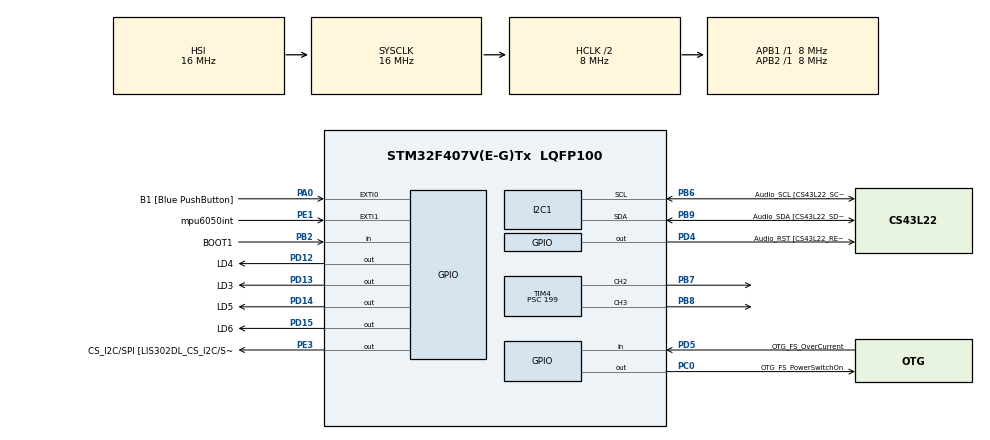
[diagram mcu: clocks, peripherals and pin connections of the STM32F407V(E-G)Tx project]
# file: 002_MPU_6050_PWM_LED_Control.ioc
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FREERTOS.Tasks01=SensorReadTask,24,128,sensor_read_task,Default,NULL,Dynamic,NULL,NULL;PWM_Control_Tas,40,128,pwm_control_task,Default,NULL,Dynamic,NULL,NULL
FREERTOS.configUSE_NEWLIB_REENTRANT=1
Mcu.Family=STM32F4
Mcu.Name=STM32F407V(E-G)Tx
Mcu.Package=LQFP100
NVIC.EXTI0_IRQn=true\:5\:0\:false\:false\:true\:true\:true\:true\:true
NVIC.PriorityGroup=NVIC_PRIORITYGROUP_4
NVIC.TIM4_IRQn=true\:5\:0\:false\:false\:true\:true\:true\:true\:true
NVIC.TIM6_DAC_IRQn=true\:15\:0\:false\:false\:true\:false\:false\:true\:true
NVIC.TimeBase=TIM6_DAC_IRQn
NVIC.TimeBaseIP=TIM6
PA0-WKUP.GPIO_Label=B1 [Blue PushButton]
PA0-WKUP.Signal=GPXTI0
PA10.GPIO_Label=OTG_FS_ID
PA10.GPIO_Mode=GPIO_MODE_AF_PP
PA10.GPIO_PuPd=GPIO_NOPULL
PA10.GPIO_Speed=GPIO_SPEED_FREQ_LOW
PA10.Signal=USB_OTG_FS_ID
PA11.GPIO_Label=OTG_FS_DM
PA11.GPIO_Mode=GPIO_MODE_AF_PP
PA11.GPIO_PuPd=GPIO_NOPULL
PA11.GPIO_Speed=GPIO_SPEED_FREQ_LOW
PA11.Signal=USB_OTG_FS_DM
PA12.GPIO_Label=OTG_FS_DP
PA12.GPIO_Mode=GPIO_MODE_AF_PP
PA12.GPIO_PuPd=GPIO_NOPULL
PA12.GPIO_Speed=GPIO_SPEED_FREQ_LOW
PA12.Signal=USB_OTG_FS_DP
PA13.GPIO_Label=SWDIO
PA13.Signal=SYS_JTMS-SWDIO
PA14.GPIO_Label=SWCLK
PA14.Signal=SYS_JTCK-SWCLK
PA4.GPIO_Label=I2S3_WS [CS43L22_LRCK]
PA4.GPIO_Mode=GPIO_MODE_AF_PP
PA4.GPIO_PuPd=GPIO_NOPULL
PA4.GPIO_Speed=GPIO_SPEED_FREQ_LOW
PA4.Signal=I2S3_WS
PA5.GPIO_Label=SPI1_SCK [LIS302DL_SCL/SPC]
PA5.GPIO_Mode=GPIO_MODE_AF_PP
PA5.GPIO_PuPd=GPIO_NOPULL
PA5.GPIO_Speed=GPIO_SPEED_FREQ_LOW
PA5.Signal=SPI1_SCK
PA6.GPIO_Label=SPI1_MISO [LIS302DL_SDO]
PA6.GPIO_Mode=GPIO_MODE_AF_PP
PA6.GPIO_PuPd=GPIO_NOPULL
PA6.GPIO_Speed=GPIO_SPEED_FREQ_LOW
PA6.Signal=SPI1_MISO
PA7.GPIO_Label=SPI1_MOSI [LIS302DL_SDA/SDI/SDO]
PA7.GPIO_Mode=GPIO_MODE_AF_PP
PA7.GPIO_PuPd=GPIO_NOPULL
PA7.GPIO_Speed=GPIO_SPEED_FREQ_LOW
PA7.Signal=SPI1_MOSI
PA9.GPIO_Label=VBUS_FS
PA9.GPIO_Mode=GPIO_MODE_INPUT
PA9.GPIO_PuPd=GPIO_NOPULL
PA9.Signal=USB_OTG_FS_VBUS
PB10.GPIO_Label=CLK_IN [MP45DT02_CLK]
PB10.GPIO_Mode=GPIO_MODE_AF_PP
PB10.GPIO_PuPd=GPIO_NOPULL
PB10.GPIO_Speed=GPIO_SPEED_FREQ_LOW
PB10.Signal=I2S2_CK
PB2.GPIO_Label=BOOT1
PB2.GPIO_Mode=GPIO_MODE_INPUT
PB2.GPIO_PuPd=GPIO_NOPULL
PB2.Signal=GPIO_Input
PB3.GPIO_Label=SWO
PB3.Signal=SYS_JTDO-SWO
PB6.GPIO_Label=Audio_SCL [CS43L22_SCL]
PB6.GPIO_Mode=GPIO_MODE_AF_OD
PB6.GPIO_PuPd=GPIO_NOPULL
PB6.GPIO_Speed=GPIO_SPEED_FREQ_LOW
PB6.Mode=I2C
PB6.Signal=I2C1_SCL
PB7.Signal=S_TIM4_CH2
PB8.Signal=S_TIM4_CH3
PB9.GPIO_Label=Audio_SDA [CS43L22_SDA]
PB9.GPIO_Mode=GPIO_MODE_AF_OD
PB9.GPIO_PuPd=GPIO_NOPULL
PB9.GPIO_Speed=GPIO_SPEED_FREQ_LOW
PB9.Mode=I2C
PB9.Signal=I2C1_SDA
PC0.GPIO_Label=OTG_FS_PowerSwitchOn
PC0.GPIO_PuPd=GPIO_NOPULL
PC0.GPIO_Speed=GPIO_SPEED_FREQ_LOW
PC0.PinState=GPIO_PIN_SET
PC0.Signal=GPIO_Output
PC10.GPIO_Label=I2S3_SCK [CS43L22_SCLK]
PC10.GPIO_Mode=GPIO_MODE_AF_PP
PC10.GPIO_PuPd=GPIO_NOPULL
PC10.GPIO_Speed=GPIO_SPEED_FREQ_LOW
PC10.Signal=I2S3_CK
PC12.GPIO_Label=I2S3_SD [CS43L22_SDIN]
PC12.GPIO_Mode=GPIO_MODE_AF_PP
PC12.GPIO_PuPd=GPIO_NOPULL
PC12.GPIO_Speed=GPIO_SPEED_FREQ_LOW
PC12.Signal=I2S3_SD
PC14-OSC32_IN.GPIO_Label=PC14-OSC32_IN
PC14-OSC32_IN.Signal=RCC_OSC32_IN
PC15-OSC32_OUT.GPIO_Label=PC15-OSC32_OUT
PC15-OSC32_OUT.Signal=RCC_OSC32_OUT
PC3.GPIO_Label=PDM_OUT [MP45DT02_DOUT]
PC3.GPIO_Mode=GPIO_MODE_AF_PP
PC3.GPIO_PuPd=GPIO_NOPULL
PC3.GPIO_Speed=GPIO_SPEED_FREQ_LOW
PC3.Signal=I2S2_SD
PC7.GPIO_Label=I2S3_MCK [CS43L22_MCLK]
PC7.GPIO_Mode=GPIO_MODE_AF_PP
PC7.GPIO_PuPd=GPIO_NOPULL
PC7.GPIO_Speed=GPIO_SPEED_FREQ_LOW
PC7.Signal=I2S3_MCK
PD12.GPIO_Label=LD4
PD12.Signal=GPIO_Output
PD13.GPIO_Label=LD3
PD13.Signal=GPIO_Output
PD14.GPIO_Label=LD5
PD14.Signal=GPIO_Output
PD15.GPIO_Label=LD6
PD15.Signal=GPIO_Output
PD4.GPIO_Label=Audio_RST [CS43L22_RESET]
PD4.GPIO_PuPd=GPIO_NOPULL
PD4.GPIO_Speed=GPIO_SPEED_FREQ_LOW
PD4.Signal=GPIO_Output
PD5.GPIO_Label=OTG_FS_OverCurrent
PD5.GPIO_Mode=GPIO_MODE_INPUT
PD5.GPIO_PuPd=GPIO_NOPULL
PD5.Signal=GPIO_Input
PE1.GPIO_Label=mpu6050int
PE1.GPIO_ModeDefaultEXTI=GPIO_MODE_EVT_RISING
PE1.GPIO_PuPd=GPIO_NOPULL
PE1.Signal=GPXTI1
PE3.GPIO_Label=CS_I2C/SPI [LIS302DL_CS_I2C/SPI]
PE3.GPIO_PuPd=GPIO_NOPULL
PE3.GPIO_Speed=GPIO_SPEED_FREQ_LOW
PE3.Signal=GPIO_Output
PH0-OSC_IN.GPIO_Label=PH0-OSC_IN
PH0-OSC_IN.Signal=RCC_OSC_IN
PH1-OSC_OUT.GPIO_Label=PH1-OSC_OUT
PH1-OSC_OUT.Signal=RCC_OSC_OUT
ProjectManager.HeapSize=0x200
ProjectManager.StackSize=0x400
ProjectManager.TargetToolchain=STM32CubeIDE
RCC.48MHZClocksFreq_Value=14285714.285714285
RCC.AHBCLKDivider=RCC_SYSCLK_DIV2
RCC.AHBFreq_Value=8000000
RCC.APB1Freq_Value=8000000
RCC.APB1TimFreq_Value=8000000
RCC.APB2Freq_Value=8000000
RCC.APB2TimFreq_Value=8000000
RCC.CortexFreq_Value=8000000
RCC.HCLKFreq_Value=8000000
RCC.HSE_VALUE=8000000
RCC.HSI_VALUE=16000000
RCC.LSE_VALUE=32768
RCC.PLLM=8
RCC.PLLN=50
RCC.PLLP=RCC_PLLP_DIV4
RCC.PLLQ=7
RCC.SYSCLKFreq_VALUE=16000000
RCC.VCOOutputFreq_Value=100000000
SH.S_TIM4_CH2.0=TIM4_CH2,PWM Generation2 CH2
SH.S_TIM4_CH3.0=TIM4_CH3,PWM Generation3 CH3
TIM4.Channel-PWM\ Generation2\ CH2=TIM_CHANNEL_2
TIM4.Channel-PWM\ Generation3\ CH3=TIM_CHANNEL_3
TIM4.Period=39
TIM4.Prescaler=199
TIM4.Pulse-PWM\ Generation2\ CH2=16
TIM4.TIM_MasterOutputTrigger=TIM_TRGO_UPDATE
VP_FREERTOS_VS_CMSIS_V2.Mode=CMSIS_V2
VP_SYS_VS_tim6.Mode=TIM6
VP_TIM4_VS_ClockSourceINT.Mode=Internal
board=STM32F407G-DISC1

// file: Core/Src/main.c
/* USER CODE BEGIN Header */
/**
  ******************************************************************************
  * @file           : main.c
  * @brief          : Main program body
  ******************************************************************************
  * @attention
  *
  * Copyright (c) 2025 STMicroelectronics.
  * All rights reserved.
  *
  * This software is licensed under terms that can be found in the LICENSE file
  * in the root directory of this software component.
  * If no LICENSE file comes with this software, it is provided AS-IS.
  *
  ******************************************************************************
  */
/* USER CODE END Header */
#include "main.h"
#include "cmsis_os.h"

/* USER CODE BEGIN Includes */
#include <math.h>
#include "kalman_filter.h"
#include "mpu6050.h"
#include <limits.h>
#include "debug.h"

/* USER CODE END Includes */

I2C_HandleTypeDef hi2c1;

TIM_HandleTypeDef htim4;

/* Definitions for SensorReadTask */
osThreadId_t SensorReadTaskHandle;
const osThreadAttr_t SensorReadTask_attributes = {
  .name = "SensorReadTask",
  .stack_size = 128 * 4,
  .priority = (osPriority_t) osPriorityNormal,
};
/* Definitions for PWM_Control_Tas */
osThreadId_t PWM_Control_TasHandle;
const osThreadAttr_t PWM_Control_Tas_attributes = {
  .name = "PWM_Control_Tas",
  .stack_size = 128 * 4,
  .priority = (osPriority_t) osPriorityHigh,
};

void SystemClock_Config(void);
static void MX_GPIO_Init(void);
static void MX_I2C1_Init(void);
static void MX_TIM4_Init(void);
void sensor_read_task(void *argument);
void pwm_control_task(void *argument);

/* USER CODE BEGIN 0 */

uint32_t g_counter = 0;
volatile uint32_t g_channel_2_state = 16;
volatile uint32_t g_channel_3_state = 8;

const mpu6050_accel_data_t error_offset={.x = 250,.y = -250,.z = 156};

#define PWM_PULSE_MIN 0
#define PWM_PULSE_MAX 40

#define ANGLE_POS_MIN 0
#define ANGLE_POS_MAX 90

long map(long x,long in_min,long in_max, long out_min,long out_max)
{
	//perform mapping

	long result = (x- in_min)*(out_max - out_min)/(in_max - in_min)+out_min;

	//clamp the result to the output range
	if(result > out_max)
	{
		result = out_max;
	}

	else if (result < out_min)
	{
		result = out_min;
	}

	return result;

}

void change_pwm_duty_cycle(uint32_t pwm_pulse,uint8_t timer_channel)
{
	__HAL_TIM_SET_COMPARE(&htim4,timer_channel,pwm_pulse);
}

// Function to get the current cycle count
uint32_t get_cycle_count(void) {
    return DWT->CYCCNT;
}

    void init_cycle_counter(void) {
            // Enable DWT (Data Watchpoint and Trace)
            CoreDebug->DEMCR |= CoreDebug_DEMCR_TRCENA_Msk;
            // Reset cycle counter
            DWT->CYCCNT = 0;
            // Enable cycle counter
            DWT->CTRL |= DWT_CTRL_CYCCNTENA_Msk;
        }

/* USER CODE END 0 */

int main(void)
{

  /* MCU Configuration--------------------------------------------------------*/

  /* Reset of all peripherals, Initializes the Flash interface and the Systick. */
  HAL_Init();

  /* Configure the system clock */
  SystemClock_Config();

  /* Initialize all configured peripherals */
  MX_GPIO_Init();
  MX_I2C1_Init();
  MX_TIM4_Init();
  /* USER CODE BEGIN 2 */

  init_cycle_counter();

  if(MPU6050_init(&hi2c1,MPU6050_I2C_addr)!= MPU6050_ok)
  {
	  Error_Handler();
  }

  mpu6050_disable_interrupt(&hi2c1,ALL_INT);
  mpu6050_interrupt_config(&hi2c1,INT_LEVEL_ACTIVE_HIGH);
  mpu6050_enable_interrupt(&hi2c1,RAW_RDY_INT);

  if(mpu6050_configure_low_pass_filter(&hi2c1,DLPF_CFG_21HZ)!= MPU6050_ok)
  {
	  Error_Handler();
  }

  __HAL_TIM_ENABLE_IT(&htim4,TIM_IT_UPDATE);

  if(HAL_TIM_PWM_Start_IT(&htim4,TIM_CHANNEL_2) != HAL_OK)
  {
	  Error_Handler();
  }

  if(HAL_TIM_PWM_Start_IT(&htim4,TIM_CHANNEL_3) != HAL_OK)
  {
	  Error_Handler();
  }

  /* USER CODE END 2 */

  /* Init scheduler */
  osKernelInitialize();

  /* Create the thread(s) */
  /* creation of SensorReadTask */
  SensorReadTaskHandle = osThreadNew(sensor_read_task, NULL, &SensorReadTask_attributes);

  /* creation of PWM_Control_Tas */
  PWM_Control_TasHandle = osThreadNew(pwm_control_task, NULL, &PWM_Control_Tas_attributes);

  /* Start scheduler */
  osKernelStart();

  /* We should never get here as control is now taken by the scheduler */

  /* Infinite loop */
  while (1)
  {

    /* USER CODE BEGIN 3 */

#ifdef PWM_DEBUG
	  g_counter = __HAL_TIM_GET_COUNTER(&htim4);
#endif

	  //HAL_Delay(500);
  }
  /* USER CODE END 3 */
}

void SystemClock_Config(void)
{
  RCC_OscInitTypeDef RCC_OscInitStruct = {0};
  RCC_ClkInitTypeDef RCC_ClkInitStruct = {0};

  /** Configure the main internal regulator output voltage
  */
  __HAL_RCC_PWR_CLK_ENABLE();
  __HAL_PWR_VOLTAGESCALING_CONFIG(PWR_REGULATOR_VOLTAGE_SCALE1);

  /** Initializes the RCC Oscillators according to the specified parameters
  * in the RCC_OscInitTypeDef structure.
  */
  RCC_OscInitStruct.OscillatorType = RCC_OSCILLATORTYPE_HSI;
  RCC_OscInitStruct.HSIState = RCC_HSI_ON;
  RCC_OscInitStruct.HSICalibrationValue = RCC_HSICALIBRATION_DEFAULT;
  RCC_OscInitStruct.PLL.PLLState = RCC_PLL_NONE;
  if (HAL_RCC_OscConfig(&RCC_OscInitStruct) != HAL_OK)
  {
    Error_Handler();
  }

  /** Initializes the CPU, AHB and APB buses clocks
  */
  RCC_ClkInitStruct.ClockType = RCC_CLOCKTYPE_HCLK|RCC_CLOCKTYPE_SYSCLK
                              |RCC_CLOCKTYPE_PCLK1|RCC_CLOCKTYPE_PCLK2;
  RCC_ClkInitStruct.SYSCLKSource = RCC_SYSCLKSOURCE_HSI;
  RCC_ClkInitStruct.AHBCLKDivider = RCC_SYSCLK_DIV2;
  RCC_ClkInitStruct.APB1CLKDivider = RCC_HCLK_DIV1;
  RCC_ClkInitStruct.APB2CLKDivider = RCC_HCLK_DIV1;

  if (HAL_RCC_ClockConfig(&RCC_ClkInitStruct, FLASH_LATENCY_0) != HAL_OK)
  {
    Error_Handler();
  }
}

static void MX_I2C1_Init(void)
{

  hi2c1.Instance = I2C1;
  hi2c1.Init.ClockSpeed = 100000;
  hi2c1.Init.DutyCycle = I2C_DUTYCYCLE_2;
  hi2c1.Init.OwnAddress1 = 0;
  hi2c1.Init.AddressingMode = I2C_ADDRESSINGMODE_7BIT;
  hi2c1.Init.DualAddressMode = I2C_DUALADDRESS_DISABLE;
  hi2c1.Init.OwnAddress2 = 0;
  hi2c1.Init.GeneralCallMode = I2C_GENERALCALL_DISABLE;
  hi2c1.Init.NoStretchMode = I2C_NOSTRETCH_DISABLE;
  if (HAL_I2C_Init(&hi2c1) != HAL_OK)
  {
    Error_Handler();
  }

}

static void MX_TIM4_Init(void)
{

  TIM_ClockConfigTypeDef sClockSourceConfig = {0};
  TIM_MasterConfigTypeDef sMasterConfig = {0};
  TIM_OC_InitTypeDef sConfigOC = {0};

  htim4.Instance = TIM4;
  htim4.Init.Prescaler = 199;
  htim4.Init.CounterMode = TIM_COUNTERMODE_UP;
  htim4.Init.Period = 39;
  htim4.Init.ClockDivision = TIM_CLOCKDIVISION_DIV1;
  htim4.Init.AutoReloadPreload = TIM_AUTORELOAD_PRELOAD_DISABLE;
  if (HAL_TIM_Base_Init(&htim4) != HAL_OK)
  {
    Error_Handler();
  }
  sClockSourceConfig.ClockSource = TIM_CLOCKSOURCE_INTERNAL;
  if (HAL_TIM_ConfigClockSource(&htim4, &sClockSourceConfig) != HAL_OK)
  {
    Error_Handler();
  }
  if (HAL_TIM_PWM_Init(&htim4) != HAL_OK)
  {
    Error_Handler();
  }
  sMasterConfig.MasterOutputTrigger = TIM_TRGO_UPDATE;
  sMasterConfig.MasterSlaveMode = TIM_MASTERSLAVEMODE_DISABLE;
  if (HAL_TIMEx_MasterConfigSynchronization(&htim4, &sMasterConfig) != HAL_OK)
  {
    Error_Handler();
  }
  sConfigOC.OCMode = TIM_OCMODE_PWM1;
  sConfigOC.Pulse = 16;
  sConfigOC.OCPolarity = TIM_OCPOLARITY_HIGH;
  sConfigOC.OCFastMode = TIM_OCFAST_DISABLE;
  if (HAL_TIM_PWM_ConfigChannel(&htim4, &sConfigOC, TIM_CHANNEL_2) != HAL_OK)
  {
    Error_Handler();
  }
  sConfigOC.Pulse = 0;
  if (HAL_TIM_PWM_ConfigChannel(&htim4, &sConfigOC, TIM_CHANNEL_3) != HAL_OK)
  {
    Error_Handler();
  }
  HAL_TIM_MspPostInit(&htim4);

}

static void MX_GPIO_Init(void)
{
  GPIO_InitTypeDef GPIO_InitStruct = {0};

  /* GPIO Ports Clock Enable */
  __HAL_RCC_GPIOE_CLK_ENABLE();
  __HAL_RCC_GPIOC_CLK_ENABLE();
  __HAL_RCC_GPIOH_CLK_ENABLE();
  __HAL_RCC_GPIOA_CLK_ENABLE();
  __HAL_RCC_GPIOB_CLK_ENABLE();
  __HAL_RCC_GPIOD_CLK_ENABLE();

  /*Configure GPIO pin Output Level */
  HAL_GPIO_WritePin(CS_I2C_SPI_GPIO_Port, CS_I2C_SPI_Pin, GPIO_PIN_RESET);

  /*Configure GPIO pin Output Level */
  HAL_GPIO_WritePin(OTG_FS_PowerSwitchOn_GPIO_Port, OTG_FS_PowerSwitchOn_Pin, GPIO_PIN_SET);

  /*Configure GPIO pin Output Level */
  HAL_GPIO_WritePin(GPIOD, LD4_Pin|LD3_Pin|LD5_Pin|LD6_Pin
                          |Audio_RST_Pin, GPIO_PIN_RESET);

  /*Configure GPIO pin : CS_I2C_SPI_Pin */
  GPIO_InitStruct.Pin = CS_I2C_SPI_Pin;
  GPIO_InitStruct.Mode = GPIO_MODE_OUTPUT_PP;
  GPIO_InitStruct.Pull = GPIO_NOPULL;
  GPIO_InitStruct.Speed = GPIO_SPEED_FREQ_LOW;
  HAL_GPIO_Init(CS_I2C_SPI_GPIO_Port, &GPIO_InitStruct);

  /*Configure GPIO pin : OTG_FS_PowerSwitchOn_Pin */
  GPIO_InitStruct.Pin = OTG_FS_PowerSwitchOn_Pin;
  GPIO_InitStruct.Mode = GPIO_MODE_OUTPUT_PP;
  GPIO_InitStruct.Pull = GPIO_NOPULL;
  GPIO_InitStruct.Speed = GPIO_SPEED_FREQ_LOW;
  HAL_GPIO_Init(OTG_FS_PowerSwitchOn_GPIO_Port, &GPIO_InitStruct);

  /*Configure GPIO pin : PDM_OUT_Pin */
  GPIO_InitStruct.Pin = PDM_OUT_Pin;
  GPIO_InitStruct.Mode = GPIO_MODE_AF_PP;
  GPIO_InitStruct.Pull = GPIO_NOPULL;
  GPIO_InitStruct.Speed = GPIO_SPEED_FREQ_LOW;
  GPIO_InitStruct.Alternate = GPIO_AF5_SPI2;
  HAL_GPIO_Init(PDM_OUT_GPIO_Port, &GPIO_InitStruct);

  /*Configure GPIO pin : B1_Pin */
  GPIO_InitStruct.Pin = B1_Pin;
  GPIO_InitStruct.Mode = GPIO_MODE_IT_RISING;
  GPIO_InitStruct.Pull = GPIO_NOPULL;
  HAL_GPIO_Init(B1_GPIO_Port, &GPIO_InitStruct);

  /*Configure GPIO pin : I2S3_WS_Pin */
  GPIO_InitStruct.Pin = I2S3_WS_Pin;
  GPIO_InitStruct.Mode = GPIO_MODE_AF_PP;
  GPIO_InitStruct.Pull = GPIO_NOPULL;
  GPIO_InitStruct.Speed = GPIO_SPEED_FREQ_LOW;
  GPIO_InitStruct.Alternate = GPIO_AF6_SPI3;
  HAL_GPIO_Init(I2S3_WS_GPIO_Port, &GPIO_InitStruct);

  /*Configure GPIO pins : SPI1_SCK_Pin SPI1_MISO_Pin SPI1_MOSI_Pin */
  GPIO_InitStruct.Pin = SPI1_SCK_Pin|SPI1_MISO_Pin|SPI1_MOSI_Pin;
  GPIO_InitStruct.Mode = GPIO_MODE_AF_PP;
  GPIO_InitStruct.Pull = GPIO_NOPULL;
  GPIO_InitStruct.Speed = GPIO_SPEED_FREQ_LOW;
  GPIO_InitStruct.Alternate = GPIO_AF5_SPI1;
  HAL_GPIO_Init(GPIOA, &GPIO_InitStruct);

  /*Configure GPIO pin : BOOT1_Pin */
  GPIO_InitStruct.Pin = BOOT1_Pin;
  GPIO_InitStruct.Mode = GPIO_MODE_INPUT;
  GPIO_InitStruct.Pull = GPIO_NOPULL;
  HAL_GPIO_Init(BOOT1_GPIO_Port, &GPIO_InitStruct);

  /*Configure GPIO pin : CLK_IN_Pin */
  GPIO_InitStruct.Pin = CLK_IN_Pin;
  GPIO_InitStruct.Mode = GPIO_MODE_AF_PP;
  GPIO_InitStruct.Pull = GPIO_NOPULL;
  GPIO_InitStruct.Speed = GPIO_SPEED_FREQ_LOW;
  GPIO_InitStruct.Alternate = GPIO_AF5_SPI2;
  HAL_GPIO_Init(CLK_IN_GPIO_Port, &GPIO_InitStruct);

  /*Configure GPIO pins : LD4_Pin LD3_Pin LD5_Pin LD6_Pin
                           Audio_RST_Pin */
  GPIO_InitStruct.Pin = LD4_Pin|LD3_Pin|LD5_Pin|LD6_Pin
                          |Audio_RST_Pin;
  GPIO_InitStruct.Mode = GPIO_MODE_OUTPUT_PP;
  GPIO_InitStruct.Pull = GPIO_NOPULL;
  GPIO_InitStruct.Speed = GPIO_SPEED_FREQ_LOW;
  HAL_GPIO_Init(GPIOD, &GPIO_InitStruct);

  /*Configure GPIO pins : I2S3_MCK_Pin I2S3_SCK_Pin I2S3_SD_Pin */
  GPIO_InitStruct.Pin = I2S3_MCK_Pin|I2S3_SCK_Pin|I2S3_SD_Pin;
  GPIO_InitStruct.Mode = GPIO_MODE_AF_PP;
  GPIO_InitStruct.Pull = GPIO_NOPULL;
  GPIO_InitStruct.Speed = GPIO_SPEED_FREQ_LOW;
  GPIO_InitStruct.Alternate = GPIO_AF6_SPI3;
  HAL_GPIO_Init(GPIOC, &GPIO_InitStruct);

  /*Configure GPIO pin : VBUS_FS_Pin */
  GPIO_InitStruct.Pin = VBUS_FS_Pin;
  GPIO_InitStruct.Mode = GPIO_MODE_INPUT;
  GPIO_InitStruct.Pull = GPIO_NOPULL;
  HAL_GPIO_Init(VBUS_FS_GPIO_Port, &GPIO_InitStruct);

  /*Configure GPIO pins : OTG_FS_ID_Pin OTG_FS_DM_Pin OTG_FS_DP_Pin */
  GPIO_InitStruct.Pin = OTG_FS_ID_Pin|OTG_FS_DM_Pin|OTG_FS_DP_Pin;
  GPIO_InitStruct.Mode = GPIO_MODE_AF_PP;
  GPIO_InitStruct.Pull = GPIO_NOPULL;
  GPIO_InitStruct.Speed = GPIO_SPEED_FREQ_LOW;
  GPIO_InitStruct.Alternate = GPIO_AF10_OTG_FS;
  HAL_GPIO_Init(GPIOA, &GPIO_InitStruct);

  /*Configure GPIO pin : OTG_FS_OverCurrent_Pin */
  GPIO_InitStruct.Pin = OTG_FS_OverCurrent_Pin;
  GPIO_InitStruct.Mode = GPIO_MODE_INPUT;
  GPIO_InitStruct.Pull = GPIO_NOPULL;
  HAL_GPIO_Init(OTG_FS_OverCurrent_GPIO_Port, &GPIO_InitStruct);

  /*Configure GPIO pin : mpu6050int_Pin */
  GPIO_InitStruct.Pin = mpu6050int_Pin;
  GPIO_InitStruct.Mode = GPIO_MODE_EVT_RISING;
  GPIO_InitStruct.Pull = GPIO_NOPULL;
  HAL_GPIO_Init(mpu6050int_GPIO_Port, &GPIO_InitStruct);

  /* EXTI interrupt init*/
  HAL_NVIC_SetPriority(EXTI0_IRQn, 5, 0);
  HAL_NVIC_EnableIRQ(EXTI0_IRQn);

}

void sensor_read_task(void *argument)
{
  /* USER CODE BEGIN 5 */

	mpu6050_accel_data_t g_accel_data;

	uint32_t acceldata_y_z = 0;

  /* Infinite loop */
  for(;;)
  {
	  //sensor read
	  if(MPU6050_read_accelerometer_data(&hi2c1,MPU6050_I2C_addr,&g_accel_data) != MPU6050_ok)
	  	  {
	  		  Error_Handler();
	  	  }

	  acceldata_y_z = g_accel_data.y;
	  acceldata_y_z = (acceldata_y_z << 16) | g_accel_data.z;

	  	  g_accel_data = mpu6050_accelerometer_calibration(&error_offset,&g_accel_data);

	  	  //send notification to the pwm control task
	  	  xTaskNotify((TaskHandle_t)PWM_Control_TasHandle,acceldata_y_z, eSetValueWithOverwrite);

	  	  //enter blocked state until a direct notification is received from the ISR
	  	  xTaskNotifyWait(0, 0, NULL, portMAX_DELAY);
  }

  /* USER CODE END 5 */
}

void pwm_control_task(void *argument)
{
  /* USER CODE BEGIN pwm_control_task */

	  uint32_t  previous_tick = osKernelGetTickCount();
	  float roll_angle;
	  int16_t roll_angle_filtered;
	  mpu6050_accel_data_t g_accel_data;
	  float dt = 0;
	  uint32_t accel_data_y_z;

	  KalmanFilter kf;
	   kalman_filter_init(&kf);

  /* Infinite loop */
  for(;;)
  {

	  //wakes upon notification
	  //enter blocked state until a direct notification is received from the Sensor read task
	  xTaskNotifyWait(0, ULONG_MAX, &accel_data_y_z, portMAX_DELAY);

	  g_accel_data.z = (int16_t)accel_data_y_z & 0xFFFF;

	  g_accel_data.y = (int16_t)(accel_data_y_z >>16) & 0xFFFF;

	  uint32_t current_tick = osKernelGetTickCount();

	  dt = (current_tick - previous_tick)/1000.0f;

	  previous_tick = current_tick;

	  roll_angle = atan2(g_accel_data.y ,g_accel_data.z)*(180.0/M_PI);
	  DEBUG_ROLL_ANGLE(roll_angle);
	  DEBUG_DT(dt * 1000);

	 roll_angle_filtered = kalman_filter_get_angle(&kf,roll_angle,dt);
	 DEBUG_ROLL_ANGLE_FILT(roll_angle_filtered);

	 uint8_t channel = (roll_angle_filtered < 0)? TIM_CHANNEL_2 : TIM_CHANNEL_3;

	  roll_angle_filtered = (roll_angle_filtered < 0)? roll_angle_filtered : roll_angle_filtered;

	  uint32_t pwm_pulse = map(roll_angle_filtered ,ANGLE_POS_MIN,ANGLE_POS_MAX,PWM_PULSE_MIN,PWM_PULSE_MAX);

	  change_pwm_duty_cycle(pwm_pulse,channel);

	  //enters blocked state
  }
  /* USER CODE END pwm_control_task */
}

void HAL_TIM_PeriodElapsedCallback(TIM_HandleTypeDef *htim)
{
  /* USER CODE BEGIN Callback 0 */

	  if (htim->Instance == TIM6) {
	    HAL_IncTick();
	  }

	  g_counter=0;
	  g_channel_2_state = 16;
	  g_channel_3_state = 8;

  /* USER CODE END Callback 0 */
  if (htim->Instance == TIM6) {
    HAL_IncTick();
  }
}

void Error_Handler(void)
{
  __disable_irq();
  while (1)
  {
  }
}
